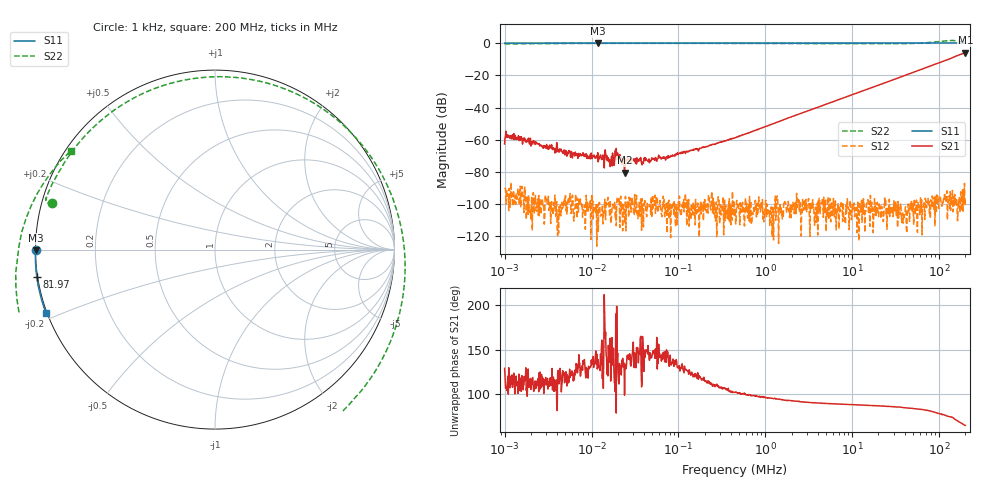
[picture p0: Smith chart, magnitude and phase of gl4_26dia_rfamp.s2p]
! ListType=Log
# MHZ S RI R 50
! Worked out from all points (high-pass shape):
!   1000 points, 1 kHz to 200 MHz, reference 50 ohm
!   highest |S21| = -5.87 dB at 200 MHz (marker M1); lowest = -80.5 dB at 23.97 kHz (marker M2)
!   |S21| within 3 dB of the highest: 143.3 MHz to end of sweep
!   lowest |S11| = 0.0 dB at 11.95 kHz (marker M3), VSWR 542.23, Z = 0.0922 - j0.0783 ohm
!   |S11| at or under -10 dB: nowhere
!   |S22| runs from -0.5 to 1.7 dB; largest |S21 - S12| = 0.51
!   S11 on the Smith chart (normalised r, x): 1 kHz: 0.00, +0.00; 81.97 MHz: -0.00, -0.08; 200 MHz: -0.00, -0.18
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0.001  -0.9986 4.85e-05  -0.000467 0.000575  -1.15e-05 -2.99e-05  -0.9089 0.26
0.0010893  -1 -0.000822  -0.000717 0.00123  1.98e-05 -3.7e-06  -0.9111 0.2599
0.0076941  -0.9988 -0.000114  -0.000209 0.000243  -2.1e-06 8.4e-06  -0.9422 0.2759
0.011945  -0.9963 -0.00312  -0.000155 0.000135  -1.2e-06 6e-07  -0.9435 0.2782
0.0172336  -0.9987 9.36e-05  -0.000148 4.39e-05  3.9e-06 -6.5e-06  -0.9425 0.2826
0.019955  -0.9987 -6.72e-05  -0.000327 0.000217  -8.5e-06 -1.15e-05  -0.9424 0.2835
0.0239689  -1.001 0.000351  -1.49e-05 9.33e-05  -3.4e-06 -2.8e-06  -0.9432 0.2849
0.0584804  -0.9987 -0.00019  -0.000194 0.000196  1.1e-06 -7.5e-06  -0.9406 0.2882
0.4499541  -0.9991 -0.00118  -0.000245 0.00114  1.8e-06 7.1e-06  -0.9349 0.303
3.419952  -0.9997 -0.00708  -0.000128 0.00874  -1.8e-06 -7.2e-06  -0.8867 0.4028
12.03851  -1 -0.0237  0.000919 0.0301  -7.5e-06 -3e-07  -0.7122 0.6466
26.31347  -1 -0.0505  0.00385 0.0648  3.6e-06 -3.5e-06  -0.3118 0.9064
50.9003  -0.9986 -0.0958  0.0127 0.1238  -1e-07 -2.3e-06  0.4925 0.8486
64.99008  -0.9967 -0.1214  0.0192 0.1577  6e-06 -3.9e-06  0.8567 0.5339
81.97236  -0.9932 -0.1519  0.032 0.1995  5.3e-06 -7.1e-06  1.057 -0.0223
104.6632  -0.9868 -0.1922  0.0531 0.2512  -1.05e-05 -5.5e-06  0.8113 -0.7913
119.7192  -0.9817 -0.2182  0.0703 0.2871  -1.47e-05 -6e-07  0.363 -1.12
133.6352  -0.9761 -0.2421  0.0847 0.3181  -2.39e-05 -5.9e-06  -0.1491 -1.193
149.1688  -0.9692 -0.2688  0.112 0.3602  1.5e-06 -9.1e-06  -0.6843 -0.9897
166.5079  -0.9605 -0.2977  0.1459 0.3955  -7e-06 -1.02e-05  -1.054 -0.491
179.1732  -0.9543 -0.3213  0.172 0.4244  -1.87e-05 -8.8e-06  -1.102 -0.0581
200  -0.9413 -0.3526  0.2124 0.4624  -1.29e-05 -6.6e-06  -0.8026 0.5506
